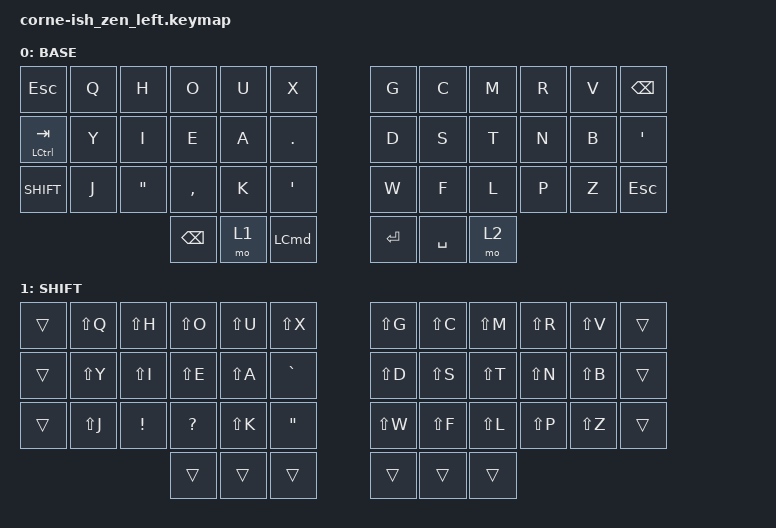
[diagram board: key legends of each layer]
/*
*
* Copyright (c) 2021 Darryl deHaan
* SPDX-License-Identifier: MIT
*
*/

#include <behaviors.dtsi>
#include <dt-bindings/zmk/keys.h>
#include <dt-bindings/zmk/bt.h>

/
{
        /*combos {
                compatible = "zmk,combos";
                combo_symshift {
                        timeout - ms = <50>;
                        key - positions = <37 41>;
                        bindings = <&mo 3>;
                };
        };*/

        keymap {
                compatible = "zmk,keymap";

                default_layer {
                        label = "BASE";
                        bindings = <
   &kp ESC         &kp Q &kp H   &kp O     &kp U &kp X         &kp G   &kp C  &kp M  &kp R   &kp V    &kp BSPC
   &mt LCTRL TAB   &kp Y &kp I   &kp E     &kp A &kp DOT       &kp D   &kp S  &kp T  &kp N   &kp B    &kp SQT
   &kp SHIFT       &kp J &kp DQT &kp COMMA &kp K &kp SQT       &kp W   &kp F  &kp L  &kp P   &kp Z    &kp ESC

                   &kp BSPC &mo 1  &kp LCMD         &kp RET &kp SPACE &mo 2
                        >;
                };
                
                adjust_layer {
                        label = "SHIFT";
                        bindings = <
   &trans &kp LS(Q) &kp LS(H)   &kp LS(O)     &kp LS(U) &kp LS(X)         &kp LS(G)   &kp LS(C)  &kp LS(M)  &kp LS(R)   &kp LS(V)    &trans
   &trans &kp LS(Y) &kp LS(I)   &kp LS(E)     &kp LS(A) &kp GRAVE         &kp LS(D)   &kp LS(S)  &kp LS(T)  &kp LS(N)   &kp LS(B)    &trans
   &trans &kp LS(J) &kp EXCL    &kp QMARK     &kp LS(K) &kp DQT           &kp LS(W)   &kp LS(F)  &kp LS(L)  &kp LS(P)   &kp LS(Z)    &trans

                   &trans &trans &trans                  &trans &trans &trans
                        >;
                };
                /*
                symbol_layer {
                        label = "SYMBOL";
   &kp ESC   &kp Q &kp H   &kp UP     &kp U &kp X                  &kp G   &kp N7  &kp N8  &kp N9   &trans    &trans
   &kp LCTRL &kp Y &kp LEFT  &kp DOWN     &kp RIGHT  &kp DOT       &kp D   &kp N4  &kp N5  &kp N6   &trans    &trans
   &kp LSHFT &kp J &kp DQT &kp COMMA &kp K &kp SQT                 &kp W   &kp N1  &kp N2  &kp N3   &kp N0    &trans

                   &trans &trans &trans                  &trans &trans &trans
                        >;
                };
                */
        };
};
